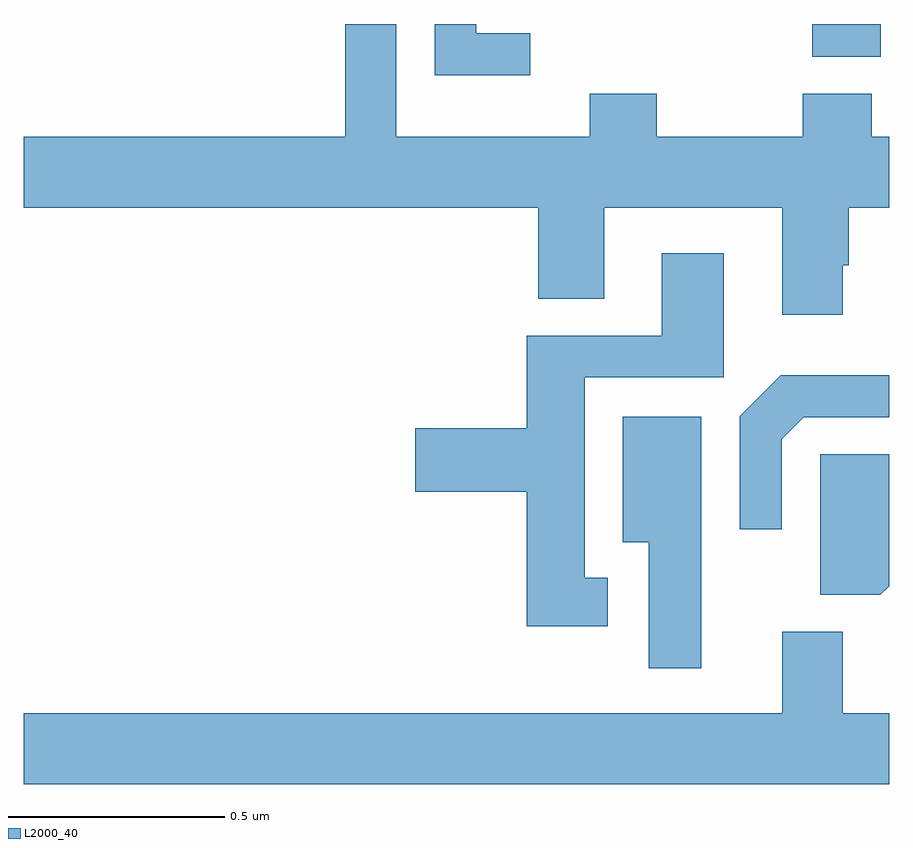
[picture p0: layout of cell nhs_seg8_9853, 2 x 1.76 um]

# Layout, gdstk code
import gdstk
lib = gdstk.Library(unit=1e-6, precision=1e-09)
def R(c, l, rs):  # rectangles x0, y0, x1, y1
    for r in rs: c.add(gdstk.rectangle(r[:2], r[2:], *l))
def P(c, l, *ps):  # polygons
    for p in ps: c.add(gdstk.Polygon(p, *l))
L2000_40 = (2000, 40)

nhs_seg8_9853 = lib.new_cell('nhs_seg8_9853')
R(nhs_seg8_9853, L2000_40, [(242.822,1140.824,242.98,1140.9)])
P(nhs_seg8_9853, L2000_40, [(242.893,1140.343),(242.906,1140.343),(242.906,1140.476),(243,1140.476),(243,1140.64),(242.96,1140.64),(242.96,1140.739),(242.8,1140.739),(242.8,1140.64),(242.463,1140.64),(242.463,1140.739),(242.308,1140.739),(242.308,1140.64),(241.861,1140.64),(241.861,1140.9),(241.743,1140.9),(241.743,1140.64),(241,1140.64),(241,1140.476),(242.189,1140.476),(242.189,1140.265),(242.341,1140.265),(242.341,1140.476),(242.753,1140.476),(242.753,1140.228),(242.893,1140.228)],
  [(242.17,1140.879),(242.046,1140.879),(242.046,1140.9),(241.95,1140.9),(241.95,1140.782),(242.17,1140.782)],
  [(242.35,1139.621),(242.296,1139.621),(242.296,1140.084),(242.617,1140.084),(242.617,1140.37),(242.474,1140.37),(242.474,1140.18),(242.162,1140.18),(242.162,1139.966),(241.905,1139.966),(241.905,1139.819),(242.162,1139.819),(242.162,1139.508),(242.35,1139.508)],
  [(242.751,1139.94),(242.802,1139.991),(243,1139.991),(243,1140.088),(242.749,1140.088),(242.655,1139.994),(242.655,1139.733),(242.751,1139.733)],
  [(242.566,1139.992),(242.384,1139.992),(242.384,1139.702),(242.444,1139.702),(242.444,1139.412),(242.566,1139.412)],
  [(243,1139.601),(243,1139.906),(242.841,1139.906),(242.841,1139.795),(242.84,1139.795),(242.84,1139.581),(242.979,1139.581)],
  [(243,1139.308),(242.893,1139.308),(242.893,1139.496),(242.753,1139.496),(242.753,1139.308),(241,1139.308),(241,1139.144),(243,1139.144)])

lib.write_gds('nhs_seg8_9853.gds')
